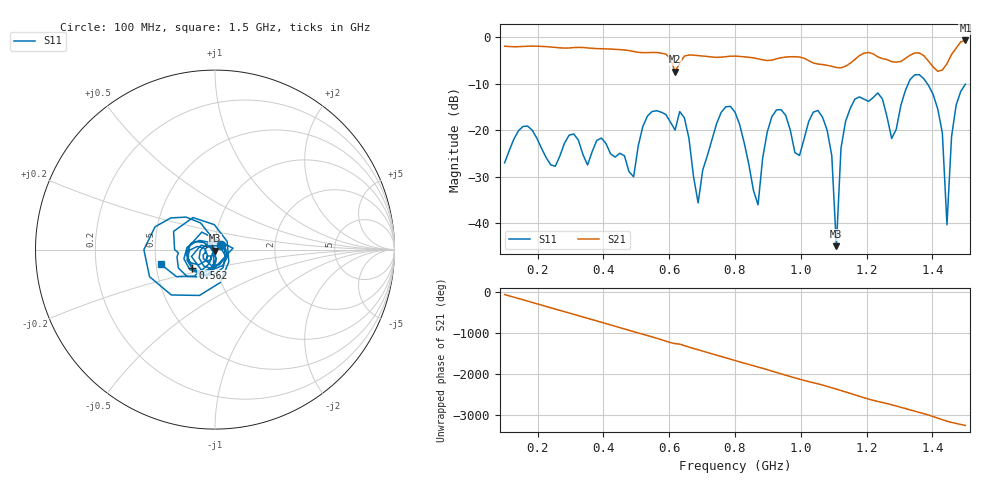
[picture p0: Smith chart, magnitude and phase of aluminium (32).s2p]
! NanoVNA-App
! Date: 2025-09-25 14:55:31
! Start: 100MHz Stop: 1,5GHz Points: 101
! S-Parameter data: F S11 S21 S12 S22
# Hz S RI R 50
!  Frequency  S11_Real  S11_Imag  S21_Real  S21_Imag  S12_Real  S12_Imag  S22_Real  S22_Imag
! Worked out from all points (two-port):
!   101 points, 100 MHz to 1.5 GHz, reference 50 ohm
!   highest |S21| = -0.68 dB at 1.5 GHz (marker M1); lowest = -7.4 dB at 618 MHz (marker M2)
!   |S21| within 3 dB of the highest: start of sweep to 590.9 MHz; 1.185 GHz to 1.223 GHz (37.69 MHz wide, 3.13 % of centre) (the widest 2 of 4)
!   lowest |S11| = -44.9 dB at 1.108 GHz (marker M3), VSWR 1.01, Z = 49.9 - j0.557 ohm
!   |S11| at or under -10 dB: start of sweep to 1.326 GHz; 1.384 GHz to end of sweep
!   S12 and S22 are empty: the file has one direction only
!   S11 on the Smith chart (normalised r, x): 100 MHz: 1.07, +0.06; 562 MHz: 0.76, -0.16; 1.5 GHz: 0.53, -0.10
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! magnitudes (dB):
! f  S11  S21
! 100 MHz  -27.0  -1.9
! 338 MHz  -25.2  -2.2
! 492 MHz  -30.0  -3.0
! 562 MHz  -15.8  -3.3
! 576 MHz  -16.1  -3.4
! 618 MHz  -20.0  -7.4
! 688 MHz  -35.6  -3.9
! 800 MHz  -16.1  -4.1
! 870 MHz  -36.0  -4.6
! 912 MHz  -17.1  -4.9
! 996 MHz  -25.4  -4.3
! 1.038 GHz  -16.1  -5.5
! 1.094 GHz  -25.4  -6.3
! 1.108 GHz  -44.9  -6.5
! 1.122 GHz  -23.9  -6.6
! 1.164 GHz  -13.3  -4.8
! 1.276 GHz  -21.8  -5.2
! 1.388 GHz  -10.4  -5.1
! 1.43 GHz  -20.6  -7.0
! 1.444 GHz  -40.3  -5.7
! 1.458 GHz  -21.3  -3.7
! 1.5 GHz  -10.1  -0.7
